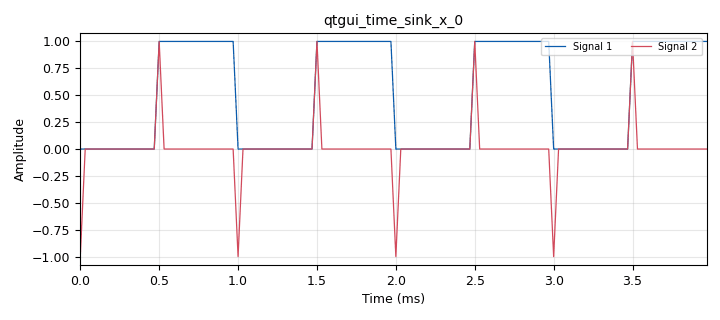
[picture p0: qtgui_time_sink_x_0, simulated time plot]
options:
  parameters:
    generate_options: qt_gui
    id: Practica_1
    output_language: python
    title: JDQG_1
  states: {}

blocks:
- name: samp_rate
  id: variable
  parameters:
    value: '32000'
  states: {}
- name: analog_sig_source_x_0
  id: analog_sig_source_x
  parameters:
    amp: '1'
    freq: '1000'
    offset: '0'
    phase: '0'
    samp_rate: samp_rate
    type: float
    waveform: analog.GR_SQR_WAVE
  states: {}
- name: blocks_vector_source_x_0
  id: blocks_vector_source_x
  parameters:
    repeat: 'True'
    type: float
    vector: (1, 1, 1,  -1, -1, -1)
  states: {state: disabled}
- name: blocks_vector_source_x_0_0
  id: blocks_vector_source_x
  parameters:
    repeat: 'True'
    type: float
    vector: (1, 2, -1)
  states: {state: disabled}
- name: epy_block_0
  id: epy_block
  parameters:
    _source_code: |-
      """
      Embedded Python Blocks:

      Each time this file is saved, GRC will instantiate the first class it finds
      to get ports and parameters of your block. The arguments to __init__  will
      be the parameters. All of them are required to have default values!
      """

      import numpy as np
      from gnuradio import gr

      class blk (gr. sync_block ):
          
          def __init__ ( self, additionFlag = 1.0 ) : 
              gr. sync_block . __init__ (
                  self ,
                  name = 'e_Acum', 
                  in_sig =[ np. float32 ],
                  out_sig =[ np. float32 ]
              )
              self.additionFlag = additionFlag
              self.accumulated_value = 0    	

          def work (self , input_items , output_items ):
              x = input_items [0] 
              y0 = output_items [0] 
              
              for i in range(len(x)):
                  self.accumulated_value += x[i]
                  y0[i] = self.accumulated_value
              
              return len (y0)
    additionFlag: '1.0'
  states: {state: disabled}
- name: epy_block_1
  id: epy_block
  parameters:
    _source_code: "import numpy as np\nfrom gnuradio import gr\n\nclass blk(gr.sync_block):\n    def __init__(self):\n        gr.sync_block.__init__(\n            self,\n            name='e_Diff',\n            in_sig=[np.float32],\n            out_sig=[np.float32]\n        )\n        # Guarda la última muestra de la ejecución anterior\n        self.prev_sample = 0.0\n\n    def work(self, input_items, output_items):\n        x = input_items[0]\n        y = output_items[0]\n        N = len(x)\n        \n        if N == 0:\n            return 0\n        \n        # 1) Diferencia para la primera muestra del bloque actual\n        #    usando la última muestra del bloque anterior\n        y[0] = x[0] - self.prev_sample\n        \n        # 2) Diferencia entre muestras consecutivas dentro del bloque\n        for i in range(1, N):\n            y[i] = x[i] - x[i-1]\n        \n        # 3) Actualiza el estado para el siguiente bloque\n        self.prev_sample = x[-1]\n        \n        return N\n\n"
  states: {}
- name: epy_block_2
  id: epy_block
  parameters:
    _source_code: |-
      """
      Embedded Python Blocks:

      Each time this file is saved, GRC will instantiate the first class it finds
      to get ports and parameters of your block. The arguments to __init__  will
      be the parameters. All of them are required to have default values!
      """

      import numpy as np
      from gnuradio import gr

      class blk (gr. sync_block ):

          def __init__ ( self ) : # only default arguments here
              gr. sync_block . __init__ (
                  self ,
                  name = 'Promedios_de_tiempos' ,
                  in_sig =[ np. float32 ],
                  out_sig =[ np. float32 ,np. float32 ,np. float32 ,np. float32 ,np. float32 ]
              )
              self . acum_anterior = 0
              self . Ntotales = 0
              self . acum_anterior1 = 0
              self . acum_anterior2 = 0

          
          def work (self , input_items , output_items ):
              x = input_items [0] # Senial de entrada .
              y0 = output_items [0] # Promedio de la senial
              y1 = output_items [1] # Media de la senial
              y2 = output_items [2] # RMS de la senial
              y3 = output_items [3] # Potencia promedio de la senial
              y4 = output_items [4] # Desviacion estandar de la senial

          # Calculo del promedio
              N = len (x)
              self . Ntotales = self . Ntotales + N
              acumulado = self . acum_anterior + np. cumsum (x)
              self . acum_anterior = acumulado [N -1]
              y0 [:]= acumulado / self . Ntotales

      # Calculo de la media cuadratica
              x2=np. multiply (x,x)
              acumulado1 = self . acum_anterior1 + np. cumsum (x2)
              self . acum_anterior1 = acumulado [N -1]
              y1 [:] = acumulado1 / self . Ntotales

      # Calculo de la RMS
              y2 [:] = np. sqrt (y1)

      # Calculo de la potencia promedio
              y3 [:] = np. multiply (y2 ,y2)

      # Calculo de la desviacion estandar
              x3 = np. multiply (x-y0 ,x-y0)
              acumulado2 = self . acum_anterior2 + np. cumsum (x3)
              self . acum_anterior2 = acumulado2 [N -1]
              y4 [:] = np. sqrt ( acumulado2 / self . Ntotales )
              return len (x)
  states: {state: disabled}
- name: qtgui_number_sink_0
  id: qtgui_number_sink
  parameters:
    graph_type: qtgui.NUM_GRAPH_HORIZ
    name: Media
    type: float
  states: {state: disabled}
- name: qtgui_number_sink_1
  id: qtgui_number_sink
  parameters:
    graph_type: qtgui.NUM_GRAPH_HORIZ
    name: Media Cuadratica
    type: float
  states: {state: disabled}
- name: qtgui_number_sink_2
  id: qtgui_number_sink
  parameters:
    graph_type: qtgui.NUM_GRAPH_HORIZ
    name: RMS
    type: float
  states: {state: disabled}
- name: qtgui_number_sink_3
  id: qtgui_number_sink
  parameters:
    graph_type: qtgui.NUM_GRAPH_HORIZ
    name: Potencia Promedio
    type: float
  states: {state: disabled}
- name: qtgui_number_sink_4
  id: qtgui_number_sink
  parameters:
    graph_type: qtgui.NUM_GRAPH_HORIZ
    name: Desviacion Estandar
    type: float
  states: {state: disabled}
- name: qtgui_time_sink_x_0
  id: qtgui_time_sink_x
  parameters:
    nconnections: '2'
    size: '128'
    srate: samp_rate
    type: float
  states: {}

connections:
- [analog_sig_source_x_0, '0', epy_block_1, '0']
- [analog_sig_source_x_0, '0', qtgui_time_sink_x_0, '0']
- [blocks_vector_source_x_0, '0', epy_block_0, '0']
- [blocks_vector_source_x_0, '0', qtgui_time_sink_x_0, '1']
- [blocks_vector_source_x_0_0, '0', epy_block_2, '0']
- [epy_block_0, '0', qtgui_time_sink_x_0, '0']
- [epy_block_1, '0', qtgui_time_sink_x_0, '1']
- [epy_block_2, '0', qtgui_number_sink_0, '0']
- [epy_block_2, '1', qtgui_number_sink_1, '0']
- [epy_block_2, '2', qtgui_number_sink_2, '0']
- [epy_block_2, '3', qtgui_number_sink_3, '0']
- [epy_block_2, '4', qtgui_number_sink_4, '0']

metadata:
  file_format: 1
  grc_version: 3.10.10.0
